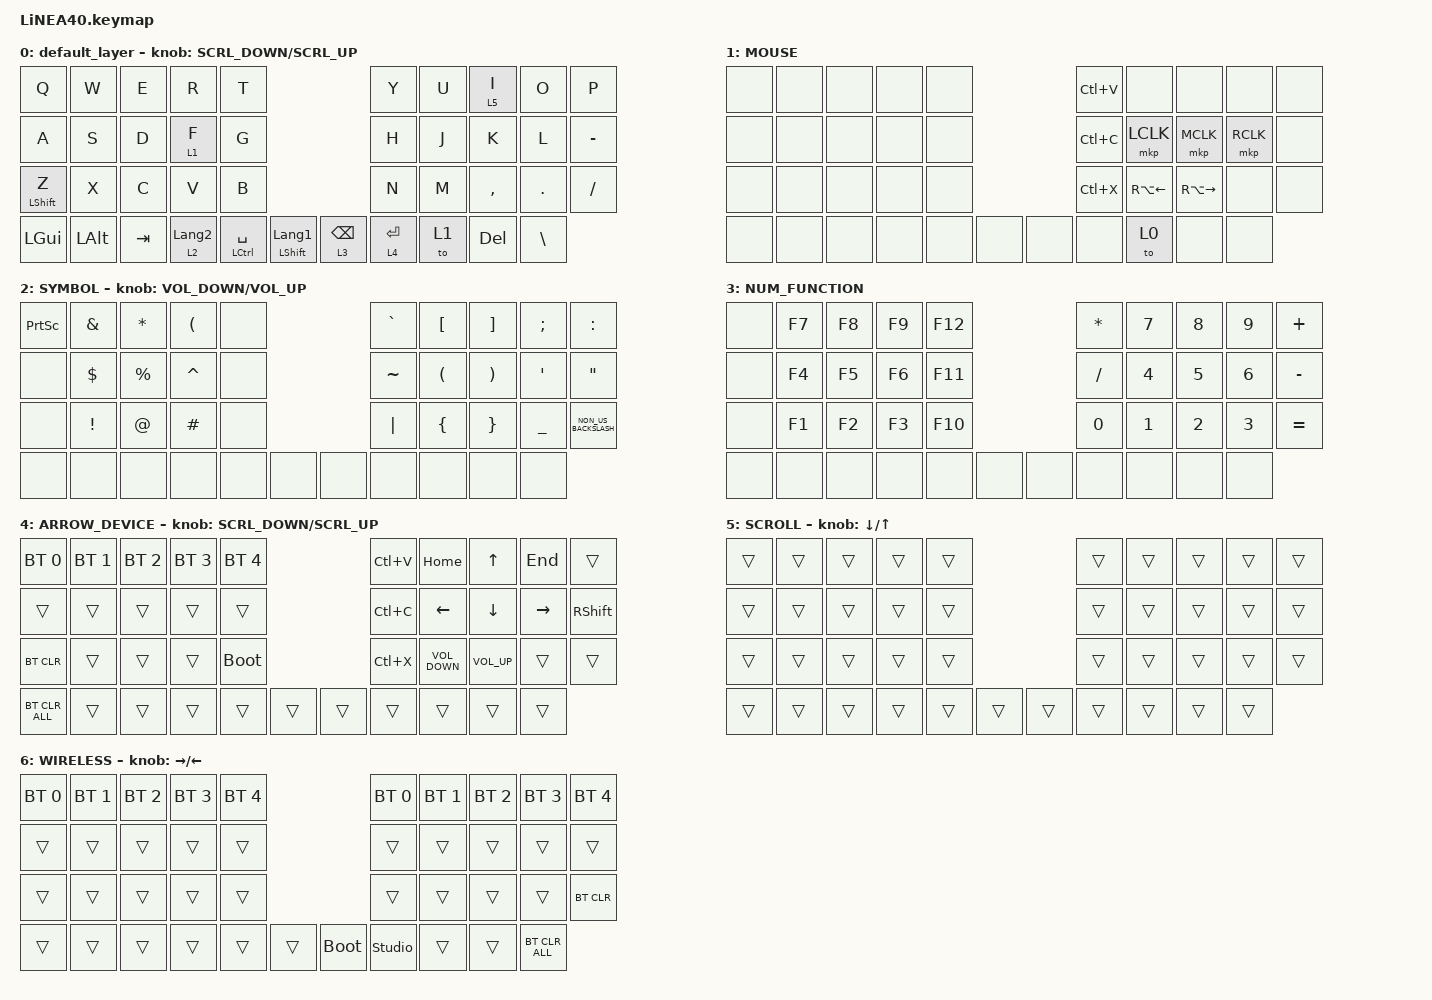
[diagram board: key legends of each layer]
#define ZMK_POINTING_DEFAULT_SCRL_VAL 150

#include <dt-bindings/zmk/input_transform.h>
#include <input/processors.dtsi>
#include <zephyr/dt-bindings/input/input-event-codes.h>
#include <behaviors.dtsi>
#include <dt-bindings/zmk/bt.h>
#include <dt-bindings/zmk/keys.h>
#include <dt-bindings/zmk/pointing.h>

#define MOUSE 1
#define MARK 2
#define CURSOR 3
#define FUNCTION 4
#define SCROLL 5
#define WIRELESS 6

//mouse cursol

&mmv {
    delay-ms = <20>;
    trigger-period-ms = <5>;
    time-to-max-speed-ms = <100>;
    acceleration-exponent = <2>;
};

//mouse scroll

&msc {
    delay-ms = <3>;
    trigger-period-ms = <3>;
    time-to-max-speed-ms = <100>;
    acceleration-exponent = <0>;
};

/ {
    input_processors {
        zip_wheel_scaler: zip_wheel_scaler {
            compatible = "zmk,input-processor-scaler";
            #input-processor-cells = <2>;
            type = <INPUT_EV_REL>;
            codes = <INPUT_REL_WHEEL>;
            track-remainders;
        };
    };
};

&msc_input_listener {
    speed_up {
        layers = <FUNCTION>;
        input-processors = <&zip_wheel_scaler 3 1>; //スクロールを3倍速にする
    };
};

&trackball_listener {
    scroller {
        layers = <SCROLL>;
        input-processors =
            <&zip_xy_transform INPUT_TRANSFORM_Y_INVERT>,
            //スクロール方向を逆転,,
            <&zip_xy_to_scroll_mapper>;
    };
};

/ {
    combos {
        compatible = "zmk,combos";

        Tab {
            bindings = <&kp TAB>;
            key-positions = <11 12>;
        };

        Esc {
            bindings = <&kp ESC>;
            key-positions = <1 2>;
        };
    };

    behaviors {
        re_kp: sensor_rotate_kp {
            compatible = "zmk,behavior-sensor-rotate-var";
            #sensor-binding-cells = <2>;
            bindings = <&kp>, <&kp>;
        };

        mouse_scrl: mouse_wheel_scrl {
            compatible = "zmk,behavior-sensor-rotate-var";
            #sensor-binding-cells = <2>;
            bindings = <&msc>, <&msc>;

            tap-ms = <20>;
        };
    };

    keymap {
        compatible = "zmk,keymap";

        default_layer {
            bindings = <
&kp Q             &kp W         &kp E    &kp R             &kp T                                                                 &kp Y        &kp U  &lt 5 I    &kp O    &kp P
&kp A             &kp S         &kp D    &lt 1 F           &kp G                                                                 &kp H        &kp J  &kp K      &kp L    &kp MINUS
&mt LEFT_SHIFT Z  &kp X         &kp C    &kp V             &kp B                                                                 &kp N        &kp M  &kp COMMA  &kp DOT  &kp SLASH
&kp LEFT_GUI      &kp LEFT_ALT  &kp TAB  &lt 2 LANGUAGE_2  &mt LEFT_CONTROL SPACE  &mt LEFT_SHIFT LANGUAGE_1    &lt 3 BACKSPACE  &lt 4 ENTER         &to 1      &kp DEL  &kp BACKSLASH
            >;

            sensor-bindings = <&mouse_scrl SCRL_DOWN SCRL_UP>;
        };

        //1

        MOUSE {
            bindings = <
&none  &none  &none  &none  &none                  &kp LC(V)  &none               &none                &none      &none
&none  &none  &none  &none  &none                  &kp LC(C)  &mkp LCLK           &mkp MCLK            &mkp RCLK  &none
&none  &none  &none  &none  &none                  &kp LC(X)  &kp RA(LEFT_ARROW)  &kp RA(RIGHT_ARROW)  &none      &none
&none  &none  &none  &none  &none  &none    &none  &none                          &to 0                &none      &none
            >;
        };

        //2

        SYMBOL {
            bindings = <
&kp PRINTSCREEN  &kp AMPERSAND    &kp ASTERISK  &kp LEFT_PARENTHESIS  &none                  &kp GRAVE  &kp LEFT_BRACKET      &kp RIGHT_BRACKET      &kp SEMICOLON     &kp COLON
&none            &kp DOLLAR       &kp PERCENT   &kp CARET             &none                  &kp TILDE  &kp LEFT_PARENTHESIS  &kp RIGHT_PARENTHESIS  &kp SINGLE_QUOTE  &kp DOUBLE_QUOTES
&none            &kp EXCLAMATION  &kp AT_SIGN   &kp HASH              &none                  &kp PIPE   &kp LEFT_BRACE        &kp RIGHT_BRACE        &kp UNDERSCORE    &kp NON_US_BACKSLASH
&none            &none            &none         &none                 &none  &none    &none  &none                            &none                  &none             &none
            >;

            sensor-bindings = <&re_kp C_VOLUME_DOWN C_VOLUME_UP>;
        };

        //3

        NUM_FUNCTION {
            bindings = <
&none  &kp F7  &kp F8  &kp F9  &kp F12                  &kp ASTERISK  &kp NUMBER_7  &kp NUMBER_8  &kp NUMBER_9  &kp PLUS
&none  &kp F4  &kp F5  &kp F6  &kp F11                  &kp SLASH     &kp NUMBER_4  &kp NUMBER_5  &kp NUMBER_6  &kp MINUS
&none  &kp F1  &kp F2  &kp F3  &kp F10                  &kp NUMBER_0  &kp NUMBER_1  &kp NUMBER_2  &kp NUMBER_3  &kp EQUAL
&none  &none   &none   &none   &none    &none    &none  &none                       &none         &none         &none
            >;
        };

        //4

        ARROW_DEVICE {
            bindings = <
&bt BT_SEL 0    &bt BT_SEL 1  &bt BT_SEL 2  &bt BT_SEL 3  &bt BT_SEL 4                    &kp LC(V)  &kp HOME           &kp UP_ARROW     &kp END          &trans
&trans          &trans        &trans        &trans        &trans                          &kp LC(C)  &kp LEFT_ARROW     &kp DOWN_ARROW   &kp RIGHT_ARROW  &kp RIGHT_SHIFT
&bt BT_CLR      &trans        &trans        &trans        &bootloader                     &kp LC(X)  &kp C_VOLUME_DOWN  &kp C_VOLUME_UP  &trans           &trans
&bt BT_CLR_ALL  &trans        &trans        &trans        &trans        &trans    &trans  &trans                        &trans           &trans           &trans
            >;

            sensor-bindings = <&mouse_scrl SCRL_DOWN SCRL_UP>;
        };

        //5

        SCROLL {
            bindings = <
&trans  &trans  &trans  &trans  &trans                    &trans  &trans  &trans  &trans  &trans
&trans  &trans  &trans  &trans  &trans                    &trans  &trans  &trans  &trans  &trans
&trans  &trans  &trans  &trans  &trans                    &trans  &trans  &trans  &trans  &trans
&trans  &trans  &trans  &trans  &trans  &trans    &trans  &trans          &trans  &trans  &trans
            >;

            sensor-bindings = <&inc_dec_kp DOWN_ARROW UP_ARROW>;
        };

        //6

        WIRELESS {
            bindings = <
&bt BT_SEL 0  &bt BT_SEL 1  &bt BT_SEL 2  &bt BT_SEL 3  &bt BT_SEL 4                         &bt BT_SEL 0    &bt BT_SEL 1  &bt BT_SEL 2  &bt BT_SEL 3  &bt BT_SEL 4
&trans        &trans        &trans        &trans        &trans                               &trans          &trans        &trans        &trans        &trans
&trans        &trans        &trans        &trans        &trans                               &trans          &trans        &trans        &trans        &bt BT_CLR
&trans        &trans        &trans        &trans        &trans        &trans    &bootloader  &studio_unlock                &trans        &trans        &bt BT_CLR_ALL
            >;

            sensor-bindings = <&inc_dec_kp RIGHT_ARROW LEFT_ARROW>;
        };
    };
};
